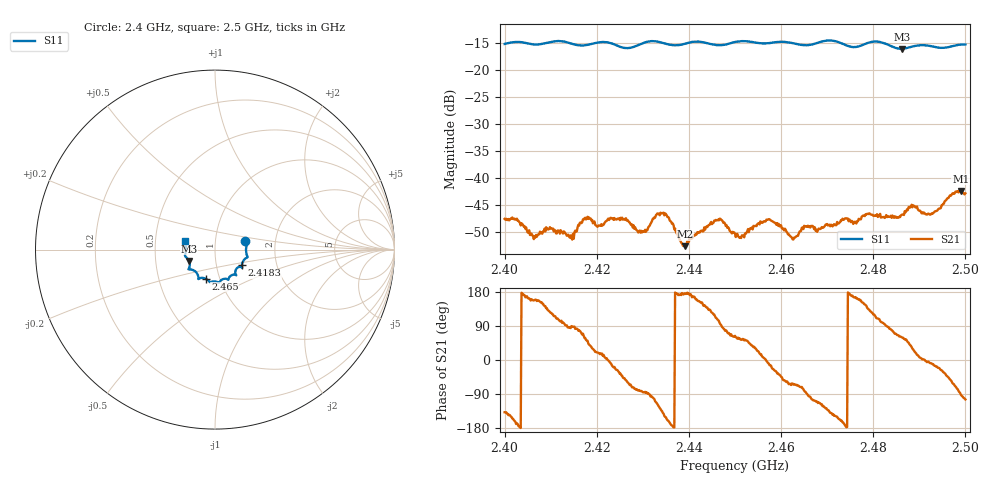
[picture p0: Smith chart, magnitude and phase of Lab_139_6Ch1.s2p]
# Hz S RI R 50
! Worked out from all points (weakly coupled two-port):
!   601 points, 2.4 GHz to 2.5 GHz, reference 50 ohm
!   highest |S21| = -42.41 dB at 2.499 GHz (marker M1); lowest = -52.6 dB at 2.4392 GHz (marker M2)
!   lowest |S11| = -16.0 dB at 2.4862 GHz (marker M3), VSWR 1.37, Z = 37.1 - j4.82 ohm
!   |S11| at or under -10 dB: start of sweep to end of sweep
!   S12 and S22 are empty: the file has one direction only
!   S11 on the Smith chart (normalised r, x): 2.4 GHz: 1.40, +0.13; 2.4183 GHz: 1.33, -0.24; 2.465 GHz: 0.86, -0.29; 2.5 GHz: 0.71, +0.07
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2.4e9  0.1689 0.0458  -0.00311 -0.00281  0 0  0 0
2.4065e9  0.173 0.00291  -0.00267 0.00108  0 0  0 0
2.4095e9  0.1776 -0.0318  -0.00218 0.00254  0 0  0 0
2.4145e9  0.1694 -0.0497  2.59e-05 0.0028  0 0  0 0
2.416667e9  0.1549 -0.0684  0.00126 0.00361  0 0  0 0
2.418333e9  0.1497 -0.0869  0.00328 0.00279  0 0  0 0
2.426e9  0.1252 -0.1008  0.0028 -0.0031  0 0  0 0
2.4295e9  0.1131 -0.1332  0.000427 -0.00309  0 0  0 0
2.433333e9  0.1168 -0.1413  -0.00229 -0.00404  0 0  0 0
2.439167e9  0.0771 -0.158  -0.00233 0.000166  0 0  0 0
2.446333e9  0.0499 -0.1631  -0.00108 0.00398  0 0  0 0
2.45e9  0.0253 -0.1807  0.00136 0.00275  0 0  0 0
2.457333e9  -0.0127 -0.1776  0.00411 -0.000672  0 0  0 0
2.4625e9  -0.0342 -0.175  0.0012 -0.00243  0 0  0 0
2.465e9  -0.0528 -0.1621  0.00057 -0.00357  0 0  0 0
2.466667e9  -0.0714 -0.1576  -0.00085 -0.00349  0 0  0 0
2.483333e9  -0.142 -0.0957  0.000242 0.00437  0 0  0 0
2.486167e9  -0.1444 -0.0633  0.00227 0.00395  0 0  0 0
2.4885e9  -0.1599 -0.0431  0.00464 0.00268  0 0  0 0
2.492667e9  -0.1651 -0.0226  0.00465 -0.00074  0 0  0 0
2.499e9  -0.1675 0.0424  -0.000171 -0.00758  0 0  0 0
2.5e9  -0.1665 0.0472  -0.00174 -0.00701  0 0  0 0
